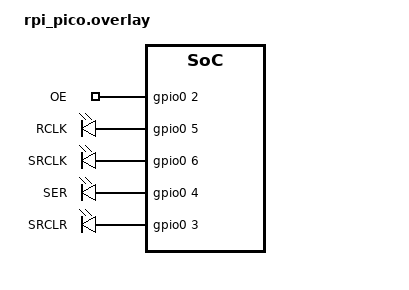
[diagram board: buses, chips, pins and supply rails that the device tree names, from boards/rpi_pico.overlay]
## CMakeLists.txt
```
cmake_minimum_required(VERSION 3.29.2)

include_directories(/home/mbayi/pico/pico-sdk/src/rp2_common/hardware_pio/include/hardware)
find_package(Zephyr REQUIRED HINTS $ENV{ZEPHYR_BASE})

add_subdirectory(pio)
include($ENV{PICO_SDK_PATH}/pico_sdk_init.cmake)
project(led_7seg)

target_sources(app PRIVATE src/main.c  src/z7seg.c )
```

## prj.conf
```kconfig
CONFIG_GPIO=y
CONFIG_WATCHDOG=y
```

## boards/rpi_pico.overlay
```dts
/{
   
	sn7hc595n 
    {
        compatible="gpio-leds";
        // output enable pin 
        oe:oe_pin
        {
            gpios=<&gpio0 2 GPIO_ACTIVE_HIGH>;
            label="OE";
        };
        // storage register clock 
        rclk:rclk_pin
        {
            gpios=<&gpio0 5 GPIO_ACTIVE_HIGH>;
            label="RCLK";
        };
        //  shift register clock
        srclk:srclk_pin
        {
            gpios=<&gpio0 6 GPIO_ACTIVE_HIGH>;
            label="SRCLK";
        };
        // serial input pin
        ser:ser_pin
        {
            gpios=<&gpio0 4 GPIO_ACTIVE_HIGH>;
            label="SER";
        };
        // shift register clear pin
        srclr:srclr_pin
        {
            gpios=<&gpio0 3 GPIO_ACTIVE_HIGH>;
            label="SRCLR";
        };

    };
    aliases
    {
        piodt=&pio0;
    };
};
&pio0 
{
    status="okay";

};
&pinctrl
{
    pio_default:pio_blink
    {
        group1
        {
            pinmux=<PIO0_P25>;
        };

    };
};
```

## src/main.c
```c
#include<zephyr/kernel.h>
#include<zephyr/drivers/gpio.h>
#include<zephyr/drivers/uart.h>
#include"../include/z7seg.h"

const struct gpio_dt_spec led= GPIO_DT_SPEC_GET(DT_ALIAS(led0),gpios);

struct k_timer timer0;
struct k_work work;
struct z7seg led_7seg;

void timer_cb(struct k_timer *timer)
{
    k_work_submit(&work);
}
void update_sr(struct k_work *work)
{
     
     shift(&led_7seg);
    led_7seg.curr_value+=1;
     if( led_7seg.curr_value>=10)
     {
            led_7seg.curr_value=0;
     }
}

int  main()
{

    if(!gpio_is_ready_dt(&led))
    {
        return 0;
       
    }
    gpio_pin_configure_dt(&led,GPIO_OUTPUT_LOW);
    
   k_work_init(&work,update_sr);
 k_timer_init(&timer0,timer_cb,NULL);
 k_timer_start(&timer0,K_SECONDS(1),K_SECONDS(1));
    init_7seg(&led_7seg);
    int ret=init_gpios();
    if(ret==0)
    {
        return 0;
    }
    gpio_pin_set_dt(&led,ret);
    while (true)
    {
        // loop through all the 10 elements in the array

     k_sleep(K_FOREVER);
    
    }
    
    return 0;
}
```

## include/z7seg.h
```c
#include <zephyr/kernel.h>

#ifndef Z7SEG
#define Z7SEG

struct z7seg;

void init_7seg(struct z7seg *this);
void shift(struct z7seg *this);

int init_gpios();
// declaration of struct

struct z7seg
{

    int curr_value;
    int binary_codes[10] ; 
    int dp ;
};

#endif
```

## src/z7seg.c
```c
#include "../include/z7seg.h"
#include <zephyr/drivers/gpio.h>


const struct gpio_dt_spec oe = GPIO_DT_SPEC_GET(DT_NODELABEL(oe), gpios);
const struct gpio_dt_spec rclk = GPIO_DT_SPEC_GET(DT_NODELABEL(rclk), gpios);
const struct gpio_dt_spec srclk = GPIO_DT_SPEC_GET(DT_NODELABEL(srclk), gpios);
const struct gpio_dt_spec ser = GPIO_DT_SPEC_GET(DT_NODELABEL(ser), gpios);
const struct gpio_dt_spec srclr = GPIO_DT_SPEC_GET(DT_NODELABEL(srclr), gpios);

int init_gpios()
{

        if (!gpio_is_ready_dt(&oe))
        {
            return 0;
        }
        else
        {
            gpio_pin_configure_dt(&oe, GPIO_OUTPUT_LOW);
        }

        if (!gpio_is_ready_dt(&rclk))
        {
            return 0;
        }
        else
        {
            gpio_pin_configure_dt(&rclk, GPIO_OUTPUT_LOW);
        }

        if (!gpio_is_ready_dt(&srclk))
        {
            return 0;
        }
        else
        {
            gpio_pin_configure_dt(&srclk, GPIO_OUTPUT_LOW);
        }

        if (!gpio_is_ready_dt(&ser))
        {
            return 0;
        }
        else
        {
            gpio_pin_configure_dt(&ser, GPIO_OUTPUT_LOW);
        }

        if (!gpio_is_ready_dt(&srclr))
        {
            return 0;
        }
        else
        {
            gpio_pin_configure_dt(&srclr, GPIO_OUTPUT_LOW);
        }
        return 1;
}
void init_7seg(struct z7seg *this)
{
    // the code  for each number exists in  an equivalent index in the array
    // eg code of 0 is stored at index 0 and 9 at index 9
    // the codes assume a common cathode  configuration of the leds
    int arr[10] = {0b0111111, 0b0000110, 0b1011011, 0b1001111,
                       0b1100110, 0b1101101, 0b1111101, 0b0000111, 0b1111111, 0b1101111};

    // store the binary codes in the struct
    for (int i = 0; i < sizeof(arr) / sizeof(int); ++i)
    {
        this->binary_codes[i] = arr[i];
    }
    // decimal place
    this->dp = 0;
    this->curr_value = 0;
    return;
}
void shift(struct z7seg *this)

{
    gpio_pin_set_dt(&oe, 1);
    gpio_pin_set_dt(&srclk, 0);
    k_msleep(1);
    gpio_pin_set_dt(&srclr, 1);

    for (int k = 7; k >= 0; --k)
    { // get a single bit ,bit i
       int biti = ((1 << k) & this->binary_codes[this->curr_value]) >> k;
        // set shift register clock to high
        gpio_pin_set_dt(&srclk, 0);
        // set data value
        gpio_pin_set_dt(&ser, biti);
        k_msleep(1);
        gpio_pin_set_dt(&srclk, 1);
        k_msleep(1);
    }
    gpio_pin_set_dt(&rclk,1);
    k_msleep(2);
    gpio_pin_set_dt(&rclk,0);
    gpio_pin_set_dt(&oe, 0);
}
```
